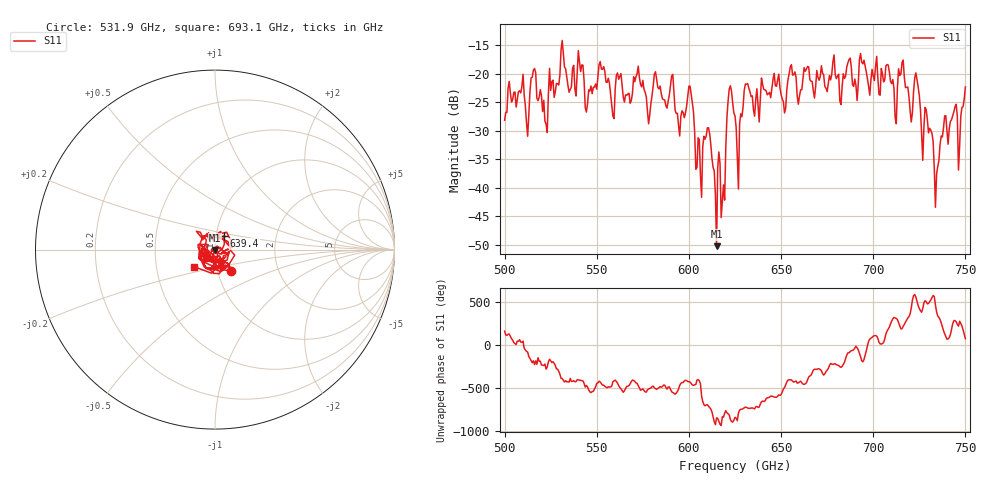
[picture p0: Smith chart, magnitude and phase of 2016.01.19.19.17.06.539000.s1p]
!Created with skrf (http://scikit-rf.org).
# GHz S RI R 50.0
!freq ReS11 ImS11
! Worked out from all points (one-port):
!   401 points, 500 GHz to 750 GHz, reference 50 ohm
!   lowest |S11| = -50.2 dB at 615 GHz (marker M1), VSWR 1.01, Z = 49.8 - j0.228 ohm
!   |S11| at or under -10 dB: start of sweep to end of sweep
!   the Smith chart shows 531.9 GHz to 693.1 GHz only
!   S11 on the Smith chart (normalised r, x): 531.9 GHz: 1.16, -0.28; 639.4 GHz: 1.09, +0.17; 693.1 GHz: 0.78, -0.15
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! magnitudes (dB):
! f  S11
! 500 GHz  -28.2
! 512.5 GHz  -31.0
! 515.6 GHz  -19.4
! 521.9 GHz  -28.4
! 531.2 GHz  -14.2
! 531.9 GHz  -16.6
! 545 GHz  -25.3
! 562.5 GHz  -20.5
! 578.1 GHz  -28.8
! 590.6 GHz  -20.4
! 593.8 GHz  -27.0
! 600.6 GHz  -22.2
! 605.6 GHz  -31.5
! 610.6 GHz  -29.5
! 615 GHz  -50.2
! 618.8 GHz  -39.5
! 621.9 GHz  -22.7
! 625 GHz  -27.4
! 639.4 GHz  -20.8
! 656.2 GHz  -20.3
! 687.5 GHz  -17.3
! 693.1 GHz  -16.5
! 718.8 GHz  -22.4
! 723.8 GHz  -21.2
! 734.4 GHz  -37.6
! 738.1 GHz  -29.5
! 746.9 GHz  -32.7
! 750 GHz  -22.4
